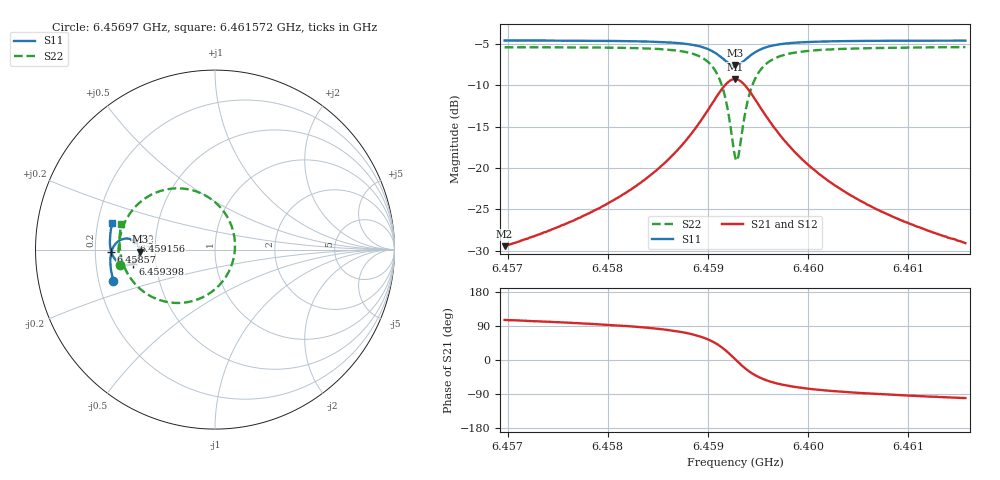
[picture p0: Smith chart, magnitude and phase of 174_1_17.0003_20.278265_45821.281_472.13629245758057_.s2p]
#  HZ  S  RI  R  50.00
! Rohde & Schwarz Vector Network Analyzer
! Rohde-Schwarz,ZNB20-2Port,1311601062101988,3.16
! Created: UTC 3/20/2024, 10:59:52 PM
! freq[Hz]  re:S11  im:S11  re:S21  im:S21  re:S12  im:S12  re:S22  im:S22
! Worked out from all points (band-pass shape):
!   401 points, 6.45697 GHz to 6.461572 GHz, reference 50 ohm
!   highest |S21| = -9.23 dB at 6.459271 GHz (marker M1); lowest = -29.5 dB at 6.45697 GHz (marker M2)
!   |S21| within 3 dB of the highest: 6.459041 GHz to 6.459501 GHz (460.4 kHz wide, 0.00713 % of centre)
!   lowest |S11| = -7.6 dB at 6.459271 GHz (marker M3), VSWR 2.43, Z = 20.5 - j0.595 ohm
!   |S11| at or under -10 dB: nowhere
!   |S22| runs from -19.1 to -5.4 dB; largest |S21 - S12| = 0.014
!   S11 on the Smith chart (normalised r, x): 6.45697 GHz: 0.26, -0.14; 6.45857 GHz: 0.27, -0.01; 6.459156 GHz: 0.37, +0.05; 6.459398 GHz: 0.37, -0.07; 6.461572 GHz: 0.26, +0.12
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6.4569704e9  -0.5661 -0.174  -0.00908 0.0324  -0.00741 0.0325  -0.5313 -0.0872
6.4577413e9  -0.5802 -0.1067  -0.00579 0.0504  -0.00331 0.0498  -0.5371 0.00287
6.4581669e9  -0.5833 -0.064  6.24e-05 0.0699  0.00326 0.0684  -0.5294 0.0703
6.4585121e9  -0.5796 -0.0226  0.0138 0.0987  0.0178 0.0961  -0.5044 0.1481
6.4585696e9  -0.5778 -0.0148  0.0182 0.1057  0.0222 0.1026  -0.4962 0.1648
6.4587767e9  -0.5647 0.0174  0.0456 0.1383  0.0496 0.1334  -0.4451 0.2377
6.4589262e9  -0.5422 0.0438  0.0909 0.1688  0.094 0.1623  -0.3618 0.3023
6.4590643e9  -0.4984 0.0615  0.1781 0.1858  0.179 0.1785  -0.2027 0.3413
6.4591563e9  -0.4536 0.0513  0.268 0.1546  0.2684 0.1488  -0.0361 0.2913
6.4592254e9  -0.4246 0.0191  0.3288 0.0828  0.3309 0.0775  0.0792 0.1622
6.4592714e9  -0.4176 -0.012  0.345 0.0149  0.3487 0.00798  0.1115 0.0355
6.4592829e9  -0.418 -0.02  0.3449 -0.00301  0.3487 -0.0106  0.111 0.00196
6.4593059e9  -0.4215 -0.0356  0.3395 -0.0376  0.3432 -0.0466  0.1 -0.0637
6.4593519e9  -0.4371 -0.0617  0.3108 -0.0974  0.3131 -0.1092  0.0426 -0.1764
6.4593979e9  -0.4592 -0.078  0.2691 -0.1384  0.2682 -0.1515  -0.0421 -0.2511
6.45949e9  -0.5026 -0.0849  0.1844 -0.1697  0.1783 -0.1811  -0.21 -0.2974
6.4596395e9  -0.5464 -0.0646  0.0967 -0.1561  0.0883 -0.1622  -0.3772 -0.2486
6.4598006e9  -0.5682 -0.037  0.0519 -0.1284  0.0443 -0.1312  -0.4575 -0.1771
6.4600422e9  -0.5809 -0.00139  0.0226 -0.0969  0.0169 -0.0975  -0.5057 -0.095
6.4603989e9  -0.5857 0.0409  0.00614 -0.0696  0.00221 -0.0692  -0.5278 -0.0141
6.460813e9  -0.5838 0.0824  -0.00127 -0.0519  -0.00404 -0.0511  -0.5319 0.052
6.4615724e9  -0.5718 0.1496  -0.0063 -0.0345  -0.00812 -0.0336  -0.521 0.1416
